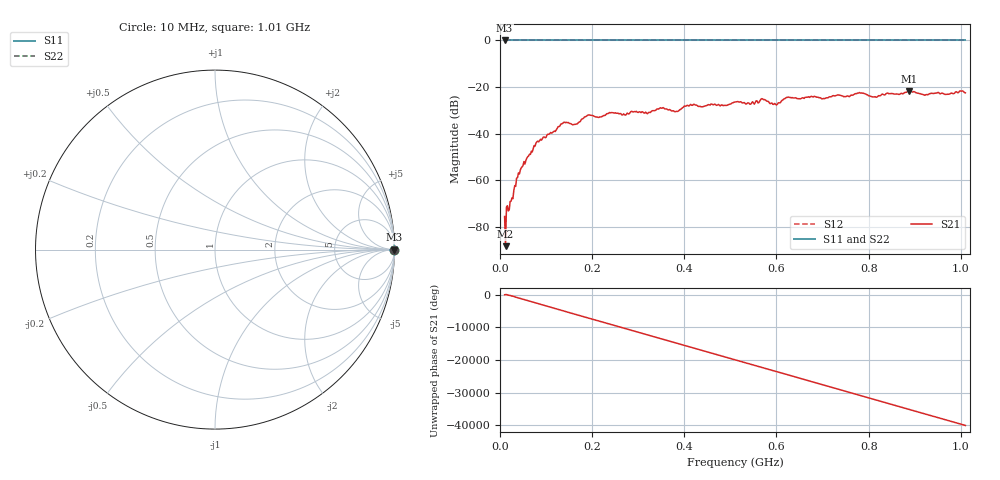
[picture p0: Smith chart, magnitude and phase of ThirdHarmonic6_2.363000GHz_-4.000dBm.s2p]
! 8/17/2025 3:38:30 AM
! C:\ANRITSUVNA\TEMP\TEMP.S2P
! CHANNEL.1
! TR.MEASUREMENT
! RAW.DATA
! RF.CORRECTION.OFF
! AVERAGING.OFF
! IF.BANDWIDTH: 5KHZ
! SWEEPTYPE:  FREQ.SWEEP(Linear)
! Reference Plane Port Info
! PORT:  PORT1  PORT2
! DISTANCE:  0  m  0  m
! TIME:  0  s  0  s
! PHASE.OFFSET:  0  deg.  0  deg.
! LOSS:  0  dB  0  dB
! REF.LOSS:  0  dB  0  dB
! REF.FREQ:  0  Hz  0  Hz
! Power Info
! POWER:  -20  dBm  -20  dBm
! EFF.POWER:  -20  dBm  -20  dBm
! SOURCE.ATTEN:  0  dB  0  dB
! TEST.ATTEN:  0  dB  0  dB
# GHZ S RI R 50.0
! FREQ.GHZ  S11RE  S11IM  S21RE  S21IM  S12RE  S12IM  S22RE  S22IM
!; PortSelection: Port_12
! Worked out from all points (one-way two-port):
!   501 points, 10 MHz to 1.01 GHz, reference 50 ohm
!   highest |S21| = -21.60 dB at 888 MHz (marker M1); lowest = -88.2 dB at 12 MHz (marker M2)
!   lowest |S11| = 0.0 dB at 10 MHz (marker M3)
!   |S11| at or under -10 dB: nowhere
!   |S22| runs from 0.0 to 0.0 dB; largest |S21 - S12| = 1.1
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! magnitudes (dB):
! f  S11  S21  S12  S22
! 10 MHz  0.0  -75.5  0.0  0.0
! 12 MHz  0.0  -88.2  0.0  0.0
! 24 MHz  0.0  -68.9  0.0  0.0
! 40 MHz  0.0  -56.8  0.0  0.0
! 78 MHz  0.0  -44.0  0.0  0.0
! 136 MHz  0.0  -35.6  0.0  0.0
! 162 MHz  0.0  -36.0  0.0  0.0
! 178 MHz  0.0  -33.7  0.0  0.0
! 194 MHz  0.0  -32.0  0.0  0.0
! 322 MHz  0.0  -30.9  0.0  0.0
! 344 MHz  0.0  -29.4  0.0  0.0
! 382 MHz  0.0  -30.5  0.0  0.0
! 410 MHz  0.0  -28.1  0.0  0.0
! 510 MHz  0.0  -26.4  0.0  0.0
! 570 MHz  0.0  -25.1  0.0  0.0
! 598 MHz  0.0  -27.3  0.0  0.0
! 624 MHz  0.0  -24.4  0.0  0.0
! 678 MHz  0.0  -24.1  0.0  0.0
! 844 MHz  0.0  -22.8  0.0  0.0
! 888 MHz  0.0  -21.6  0.0  0.0
! 924 MHz  0.0  -23.3  0.0  0.0
! 1.01 GHz  0.0  -22.5  0.0  0.0
